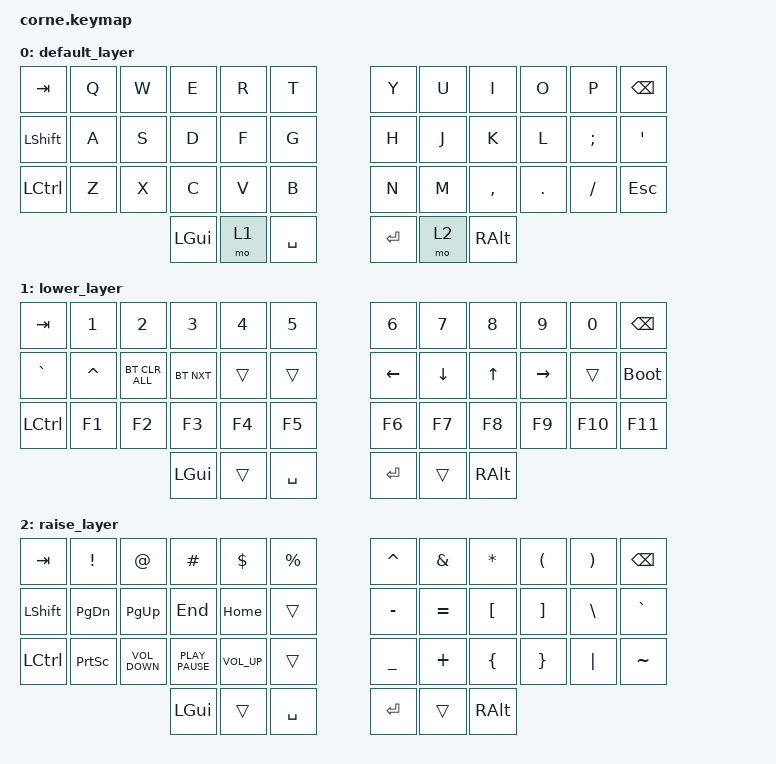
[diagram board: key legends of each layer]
/*
 * Copyright (c) 2020 The ZMK Contributors
 *
 * SPDX-License-Identifier: MIT
 */

#include <behaviors.dtsi>
#include <dt-bindings/zmk/bt.h>
#include <dt-bindings/zmk/keys.h>

/ {
    keymap {
        compatible = "zmk,keymap";

        default_layer {
            // -----------------------------------------------------------------------------------------
            // |  TAB |  Q  |  W  |  E  |  R  |  T  |   |  Y  |  U   |  I  |  O  |  P  | BSPC |
            // | CTRL |  A  |  S  |  D  |  F  |  G  |   |  H  |  J   |  K  |  L  |  ;  |  '   |
            // | SHFT |  Z  |  X  |  C  |  V  |  B  |   |  N  |  M   |  ,  |  .  |  /  | ESC  |
            //                    | GUI | LWR | SPC |   | ENT | RSE  | ALT |

            bindings = <
&kp TAB    &kp Q  &kp W  &kp E     &kp R  &kp T        &kp Y    &kp U  &kp I          &kp O    &kp P     &kp BSPC
&kp LSHFT  &kp A  &kp S  &kp D     &kp F  &kp G        &kp H    &kp J  &kp K          &kp L    &kp SEMI  &kp SQT
&kp LCTRL  &kp Z  &kp X  &kp C     &kp V  &kp B        &kp N    &kp M  &kp COMMA      &kp DOT  &kp FSLH  &kp ESC
                         &kp LGUI  &mo 1  &kp SPACE    &kp RET  &mo 2  &kp RIGHT_ALT
            >;
        };

        lower_layer {
            // -----------------------------------------------------------------------------------------
            // |  TAB |  1  |  2  |  3  |  4  |  5  |   |  6  |  7  |  8  |  9  |  0  | BSPC |
            // | BTCLR| BT1 | BT2 | BT3 | BT4 | BT5 |   | LFT | DWN |  UP | RGT |     |      |
            // | SHFT |     |     |     |     |     |   |     |     |     |     |     |      |
            //                    | GUI |     | SPC |   | ENT |     | ALT |

            bindings = <
&kp TAB    &kp N1     &kp N2          &kp N3      &kp N4  &kp N5       &kp N6    &kp N7    &kp N8    &kp N9     &kp N0   &kp BSPC
&kp GRAVE  &kp CARET  &bt BT_CLR_ALL  &bt BT_NXT  &trans  &trans       &kp LEFT  &kp DOWN  &kp UP    &kp RIGHT  &trans   &bootloader
&kp LCTRL  &kp F1     &kp F2          &kp F3      &kp F4  &kp F5       &kp F6    &kp F7    &kp F8    &kp F9     &kp F10  &kp F11
                                      &kp LGUI    &trans  &kp SPACE    &kp RET   &trans    &kp RALT
            >;
        };

        raise_layer {
            // -----------------------------------------------------------------------------------------
            // |  TAB |  !  |  @  |  #  |  $  |  %  |   |  ^  |  &  |  *  |  (  |  )  | BSPC |
            // | CTRL |     |     |     |     |     |   |  -  |  =  |  [  |  ]  |  \  |  `   |
            // | SHFT |     |     |     |     |     |   |  _  |  +  |  {  |  }  | "|" |  ~   |
            //                    | GUI |     | SPC |   | ENT |     | ALT |

            bindings = <
&kp TAB    &kp EXCL         &kp AT             &kp HASH          &kp DLLR         &kp PRCNT    &kp CARET  &kp AMPS   &kp ASTRK  &kp LPAR  &kp RPAR  &kp BSPC
&kp LSHFT  &kp PAGE_DOWN    &kp PAGE_UP        &kp END           &kp HOME         &trans       &kp MINUS  &kp EQUAL  &kp LBKT   &kp RBKT  &kp BSLH  &kp GRAVE
&kp LCTRL  &kp PRINTSCREEN  &kp C_VOLUME_DOWN  &kp K_PLAY_PAUSE  &kp C_VOLUME_UP  &trans       &kp UNDER  &kp PLUS   &kp LBRC   &kp RBRC  &kp PIPE  &kp TILDE
                                               &kp LGUI          &trans           &kp SPACE    &kp RET    &trans     &kp RALT
            >;
        };
    };
};
